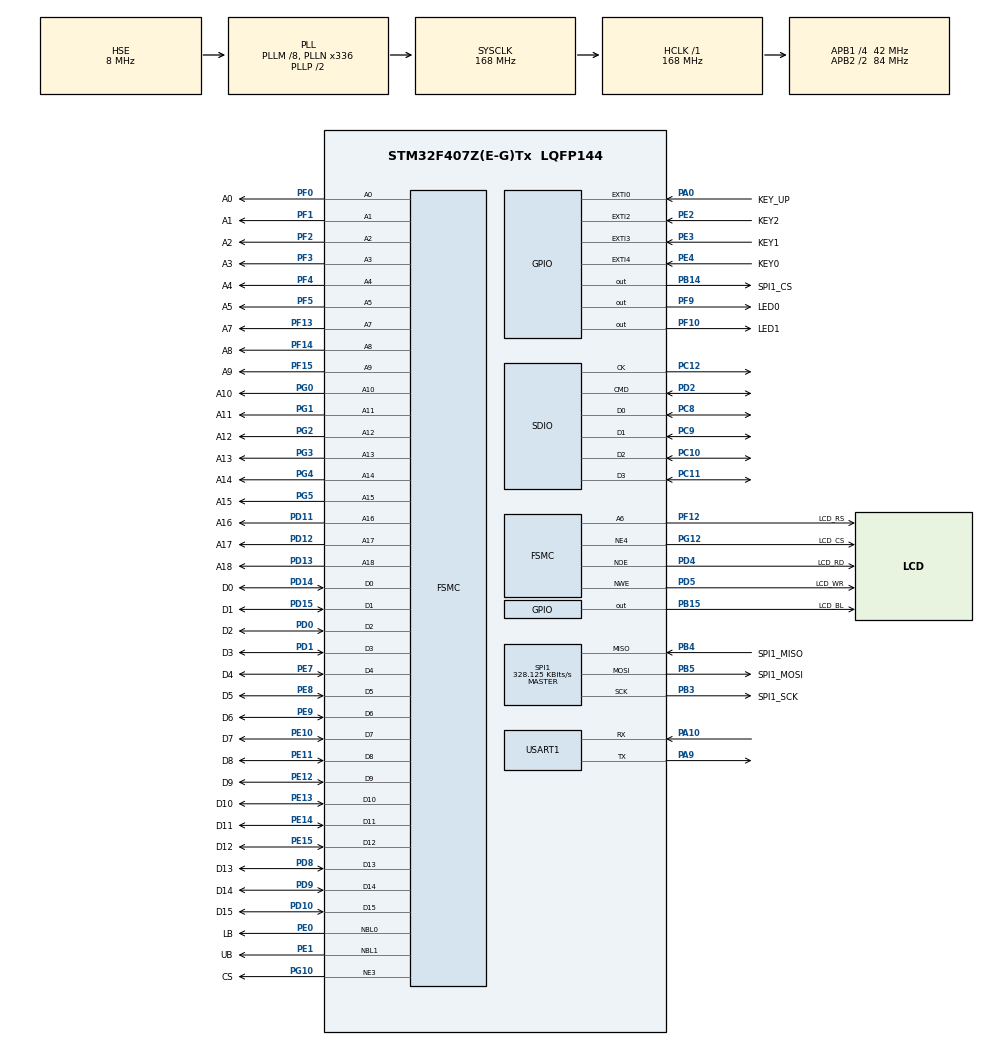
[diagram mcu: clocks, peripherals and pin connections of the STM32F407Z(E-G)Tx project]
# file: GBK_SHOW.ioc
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Dma.Request0=SDIO_RX
Dma.Request1=SDIO_TX
Dma.SDIO_RX.0.Direction=DMA_PERIPH_TO_MEMORY
Dma.SDIO_RX.0.FIFOMode=DMA_FIFOMODE_ENABLE
Dma.SDIO_RX.0.FIFOThreshold=DMA_FIFO_THRESHOLD_FULL
Dma.SDIO_RX.0.Instance=DMA2_Stream3
Dma.SDIO_RX.0.MemBurst=DMA_MBURST_SINGLE
Dma.SDIO_RX.0.MemDataAlignment=DMA_MDATAALIGN_BYTE
Dma.SDIO_RX.0.MemInc=DMA_MINC_ENABLE
Dma.SDIO_RX.0.Mode=DMA_PFCTRL
Dma.SDIO_RX.0.PeriphBurst=DMA_PBURST_INC4
Dma.SDIO_RX.0.PeriphDataAlignment=DMA_PDATAALIGN_WORD
Dma.SDIO_RX.0.PeriphInc=DMA_PINC_DISABLE
Dma.SDIO_RX.0.Priority=DMA_PRIORITY_HIGH
Dma.SDIO_TX.1.Direction=DMA_MEMORY_TO_PERIPH
Dma.SDIO_TX.1.FIFOMode=DMA_FIFOMODE_ENABLE
Dma.SDIO_TX.1.FIFOThreshold=DMA_FIFO_THRESHOLD_FULL
Dma.SDIO_TX.1.Instance=DMA2_Stream6
Dma.SDIO_TX.1.MemBurst=DMA_MBURST_SINGLE
Dma.SDIO_TX.1.MemDataAlignment=DMA_MDATAALIGN_BYTE
Dma.SDIO_TX.1.MemInc=DMA_MINC_ENABLE
Dma.SDIO_TX.1.Mode=DMA_PFCTRL
Dma.SDIO_TX.1.PeriphBurst=DMA_PBURST_INC4
Dma.SDIO_TX.1.PeriphDataAlignment=DMA_PDATAALIGN_WORD
Dma.SDIO_TX.1.PeriphInc=DMA_PINC_DISABLE
Dma.SDIO_TX.1.Priority=DMA_PRIORITY_HIGH
FSMC.AddressSetupTime1=2
FSMC.BusTurnAroundDuration1=0
FSMC.DataSetupTime1=8
FSMC.DataSetupTime2=60
FSMC.ExtendedAddressSetupTime2=9
FSMC.ExtendedDataSetupTime2=9
FSMC.ExtendedMode2=FSMC_EXTENDED_MODE_ENABLE
FSMC.WriteOperation1=FSMC_WRITE_OPERATION_ENABLE
Mcu.Family=STM32F4
Mcu.Name=STM32F407Z(E-G)Tx
Mcu.Package=LQFP144
NVIC.DMA2_Stream3_IRQn=true\:2\:0\:true\:false\:true\:false\:true
NVIC.DMA2_Stream6_IRQn=true\:2\:0\:true\:false\:true\:false\:true
NVIC.EXTI0_IRQn=true\:3\:1\:true\:false\:true\:true\:true
NVIC.EXTI2_IRQn=true\:3\:1\:true\:false\:true\:true\:true
NVIC.EXTI3_IRQn=true\:3\:1\:true\:false\:true\:true\:true
NVIC.EXTI4_IRQn=true\:3\:1\:true\:false\:true\:true\:true
NVIC.PriorityGroup=NVIC_PRIORITYGROUP_2
NVIC.SDIO_IRQn=true\:1\:0\:true\:false\:true\:true\:true
PA0-WKUP.GPIO_Label=KEY_UP
PA0-WKUP.GPIO_ModeDefaultEXTI=GPIO_MODE_IT_RISING
PA0-WKUP.GPIO_PuPd=GPIO_PULLDOWN
PA0-WKUP.Signal=GPXTI0
PA10.Mode=Asynchronous
PA10.Signal=USART1_RX
PA13.Mode=Serial_Wire
PA13.Signal=SYS_JTMS-SWDIO
PA14.Mode=Serial_Wire
PA14.Signal=SYS_JTCK-SWCLK
PA9.Mode=Asynchronous
PA9.Signal=USART1_TX
PB14.GPIO_Label=SPI1_CS
PB14.GPIO_PuPd=GPIO_PULLUP
PB14.PinState=GPIO_PIN_SET
PB14.Signal=GPIO_Output
PB15.GPIO_Label=LCD_BL
PB15.GPIO_PuPd=GPIO_PULLDOWN
PB15.GPIO_Speed=GPIO_SPEED_FREQ_HIGH
PB15.PinState=GPIO_PIN_SET
PB15.Signal=GPIO_Output
PB3.GPIO_Label=SPI1_SCK
PB3.GPIO_PuPd=GPIO_PULLUP
PB3.Mode=Full_Duplex_Master
PB3.Signal=SPI1_SCK
PB4.GPIO_Label=SPI1_MISO
PB4.GPIO_PuPd=GPIO_PULLUP
PB4.Mode=Full_Duplex_Master
PB4.Signal=SPI1_MISO
PB5.GPIO_Label=SPI1_MOSI
PB5.GPIO_PuPd=GPIO_PULLUP
PB5.Mode=Full_Duplex_Master
PB5.Signal=SPI1_MOSI
PC10.GPIO_PuPd=GPIO_PULLUP
PC10.Mode=SD_4_bits_Wide_bus
PC10.Signal=SDIO_D2
PC11.GPIO_PuPd=GPIO_PULLUP
PC11.Mode=SD_4_bits_Wide_bus
PC11.Signal=SDIO_D3
PC12.GPIO_PuPd=GPIO_PULLUP
PC12.Mode=SD_4_bits_Wide_bus
PC12.Signal=SDIO_CK
PC8.GPIO_PuPd=GPIO_PULLUP
PC8.Mode=SD_4_bits_Wide_bus
PC8.Signal=SDIO_D0
PC9.GPIO_PuPd=GPIO_PULLUP
PC9.Mode=SD_4_bits_Wide_bus
PC9.Signal=SDIO_D1
PD0.GPIO_Label=D2
PD0.GPIO_PuPd=GPIO_PULLUP
PD0.Signal=FSMC_D2_DA2
PD1.GPIO_Label=D3
PD1.GPIO_PuPd=GPIO_PULLUP
PD1.Signal=FSMC_D3_DA3
PD10.GPIO_Label=D15
PD10.GPIO_PuPd=GPIO_PULLUP
PD10.Signal=FSMC_D15_DA15
PD11.GPIO_Label=A16
PD11.GPIO_PuPd=GPIO_PULLUP
PD11.Signal=FSMC_A16_CLE
PD12.GPIO_Label=A17
PD12.GPIO_PuPd=GPIO_PULLUP
PD12.Signal=FSMC_A17_ALE
PD13.GPIO_Label=A18
PD13.GPIO_PuPd=GPIO_PULLUP
PD13.Signal=FSMC_A18
PD14.GPIO_Label=D0
PD14.GPIO_PuPd=GPIO_PULLUP
PD14.Signal=FSMC_D0_DA0
PD15.GPIO_Label=D1
PD15.GPIO_PuPd=GPIO_PULLUP
PD15.Signal=FSMC_D1_DA1
PD2.GPIO_PuPd=GPIO_PULLUP
PD2.Mode=SD_4_bits_Wide_bus
PD2.Signal=SDIO_CMD
PD4.GPIO_Label=LCD_RD
PD4.GPIO_PuPd=GPIO_PULLUP
PD4.Signal=FSMC_NOE
PD5.GPIO_Label=LCD_WR
PD5.GPIO_PuPd=GPIO_PULLUP
PD5.Signal=FSMC_NWE
PD8.GPIO_Label=D13
PD8.GPIO_PuPd=GPIO_PULLUP
PD8.Signal=FSMC_D13_DA13
PD9.GPIO_Label=D14
PD9.GPIO_PuPd=GPIO_PULLUP
PD9.Signal=FSMC_D14_DA14
PE0.GPIO_Label=LB
PE0.GPIO_PuPd=GPIO_PULLUP
PE0.Signal=FSMC_NBL0
PE1.GPIO_Label=UB
PE1.GPIO_PuPd=GPIO_PULLUP
PE1.Signal=FSMC_NBL1
PE10.GPIO_Label=D7
PE10.GPIO_PuPd=GPIO_PULLUP
PE10.Signal=FSMC_D7_DA7
PE11.GPIO_Label=D8
PE11.GPIO_PuPd=GPIO_PULLUP
PE11.Signal=FSMC_D8_DA8
PE12.GPIO_Label=D9
PE12.GPIO_PuPd=GPIO_PULLUP
PE12.Signal=FSMC_D9_DA9
PE13.GPIO_Label=D10
PE13.GPIO_PuPd=GPIO_PULLUP
PE13.Signal=FSMC_D10_DA10
PE14.GPIO_Label=D11
PE14.GPIO_PuPd=GPIO_PULLUP
PE14.Signal=FSMC_D11_DA11
PE15.GPIO_Label=D12
PE15.GPIO_PuPd=GPIO_PULLUP
PE15.Signal=FSMC_D12_DA12
PE2.GPIO_Label=KEY2
PE2.GPIO_ModeDefaultEXTI=GPIO_MODE_IT_FALLING
PE2.GPIO_PuPd=GPIO_PULLUP
PE2.Signal=GPXTI2
PE3.GPIO_Label=KEY1
PE3.GPIO_ModeDefaultEXTI=GPIO_MODE_IT_FALLING
PE3.GPIO_PuPd=GPIO_PULLUP
PE3.Signal=GPXTI3
PE4.GPIO_Label=KEY0
PE4.GPIO_ModeDefaultEXTI=GPIO_MODE_IT_FALLING
PE4.GPIO_PuPd=GPIO_PULLUP
PE4.Signal=GPXTI4
PE7.GPIO_Label=D4
PE7.GPIO_PuPd=GPIO_PULLUP
PE7.Signal=FSMC_D4_DA4
PE8.GPIO_Label=D5
PE8.GPIO_PuPd=GPIO_PULLUP
PE8.Signal=FSMC_D5_DA5
PE9.GPIO_Label=D6
PE9.GPIO_PuPd=GPIO_PULLUP
PE9.Signal=FSMC_D6_DA6
PF0.GPIO_Label=A0
PF0.GPIO_PuPd=GPIO_PULLUP
PF0.Signal=FSMC_A0
PF1.GPIO_Label=A1
PF1.GPIO_PuPd=GPIO_PULLUP
PF1.Signal=FSMC_A1
PF10.GPIO_Label=LED1
PF10.GPIO_PuPd=GPIO_PULLUP
PF10.GPIO_Speed=GPIO_SPEED_FREQ_HIGH
PF10.PinState=GPIO_PIN_SET
PF10.Signal=GPIO_Output
PF12.GPIO_Label=LCD_RS
PF12.GPIO_PuPd=GPIO_PULLUP
PF12.Signal=FSMC_A6
PF13.GPIO_Label=A7
PF13.GPIO_PuPd=GPIO_PULLUP
PF13.Signal=FSMC_A7
PF14.GPIO_Label=A8
PF14.GPIO_PuPd=GPIO_PULLUP
PF14.Signal=FSMC_A8
PF15.GPIO_Label=A9
PF15.GPIO_PuPd=GPIO_PULLUP
PF15.Signal=FSMC_A9
PF2.GPIO_Label=A2
PF2.GPIO_PuPd=GPIO_PULLUP
PF2.Signal=FSMC_A2
PF3.GPIO_Label=A3
PF3.GPIO_PuPd=GPIO_PULLUP
PF3.Signal=FSMC_A3
PF4.GPIO_Label=A4
PF4.GPIO_PuPd=GPIO_PULLUP
PF4.Signal=FSMC_A4
PF5.GPIO_Label=A5
PF5.GPIO_PuPd=GPIO_PULLUP
PF5.Signal=FSMC_A5
PF9.GPIO_Label=LED0
PF9.GPIO_PuPd=GPIO_PULLUP
PF9.GPIO_Speed=GPIO_SPEED_FREQ_HIGH
PF9.PinState=GPIO_PIN_SET
PF9.Signal=GPIO_Output
PG0.GPIO_Label=A10
PG0.GPIO_PuPd=GPIO_PULLUP
PG0.Signal=FSMC_A10
PG1.GPIO_Label=A11
PG1.GPIO_PuPd=GPIO_PULLUP
PG1.Signal=FSMC_A11
PG10.GPIO_Label=CS
PG10.GPIO_PuPd=GPIO_PULLUP
PG10.Mode=NorPsramChipSelect3_1
PG10.Signal=FSMC_NE3
PG12.GPIO_Label=LCD_CS
PG12.GPIO_PuPd=GPIO_PULLUP
PG12.Mode=NorPsramChipSelect4_2
PG12.Signal=FSMC_NE4
PG2.GPIO_Label=A12
PG2.GPIO_PuPd=GPIO_PULLUP
PG2.Signal=FSMC_A12
PG3.GPIO_Label=A13
PG3.GPIO_PuPd=GPIO_PULLUP
PG3.Signal=FSMC_A13
PG4.GPIO_Label=A14
PG4.GPIO_PuPd=GPIO_PULLUP
PG4.Signal=FSMC_A14
PG5.GPIO_Label=A15
PG5.GPIO_PuPd=GPIO_PULLUP
PG5.Signal=FSMC_A15
PH0-OSC_IN.Mode=HSE-External-Oscillator
PH0-OSC_IN.Signal=RCC_OSC_IN
PH1-OSC_OUT.Mode=HSE-External-Oscillator
PH1-OSC_OUT.Signal=RCC_OSC_OUT
ProjectManager.HeapSize=0x200
ProjectManager.StackSize=0x400
ProjectManager.TargetToolchain=MDK-ARM V5
RCC.48MHZClocksFreq_Value=48000000
RCC.AHBFreq_Value=168000000
RCC.APB1CLKDivider=RCC_HCLK_DIV4
RCC.APB1Freq_Value=42000000
RCC.APB1TimFreq_Value=84000000
RCC.APB2CLKDivider=RCC_HCLK_DIV2
RCC.APB2Freq_Value=84000000
RCC.APB2TimFreq_Value=168000000
RCC.CortexFreq_Value=168000000
RCC.HCLKFreq_Value=168000000
RCC.HSE_VALUE=8000000
RCC.HSI_VALUE=16000000
RCC.LSE_VALUE=32768
RCC.PLLM=8
RCC.PLLN=336
RCC.PLLQ=7
RCC.PLLSourceVirtual=RCC_PLLSOURCE_HSE
RCC.SYSCLKFreq_VALUE=168000000
RCC.SYSCLKSource=RCC_SYSCLKSOURCE_PLLCLK
RCC.VCOOutputFreq_Value=336000000
SH.FSMC_A0.0=FSMC_A0,19b-a1
SH.FSMC_A1.0=FSMC_A1,19b-a1
SH.FSMC_A10.0=FSMC_A10,19b-a1
SH.FSMC_A11.0=FSMC_A11,19b-a1
SH.FSMC_A12.0=FSMC_A12,19b-a1
SH.FSMC_A13.0=FSMC_A13,19b-a1
SH.FSMC_A14.0=FSMC_A14,19b-a1
SH.FSMC_A15.0=FSMC_A15,19b-a1
SH.FSMC_A16_CLE.0=FSMC_A16,19b-a1
SH.FSMC_A17_ALE.0=FSMC_A17,19b-a1
SH.FSMC_A18.0=FSMC_A18,19b-a1
SH.FSMC_A2.0=FSMC_A2,19b-a1
SH.FSMC_A3.0=FSMC_A3,19b-a1
SH.FSMC_A4.0=FSMC_A4,19b-a1
SH.FSMC_A5.0=FSMC_A5,19b-a1
SH.FSMC_A6.0=FSMC_A6,A6_2
SH.FSMC_A6.1=FSMC_A6,19b-a1
SH.FSMC_A7.0=FSMC_A7,19b-a1
SH.FSMC_A8.0=FSMC_A8,19b-a1
SH.FSMC_A9.0=FSMC_A9,19b-a1
SH.FSMC_D0_DA0.0=FSMC_D0,16b-d2
SH.FSMC_D0_DA0.1=FSMC_D0,16b-d1
SH.FSMC_D10_DA10.0=FSMC_D10,16b-d2
SH.FSMC_D10_DA10.1=FSMC_D10,16b-d1
SH.FSMC_D11_DA11.0=FSMC_D11,16b-d2
SH.FSMC_D11_DA11.1=FSMC_D11,16b-d1
SH.FSMC_D12_DA12.0=FSMC_D12,16b-d2
SH.FSMC_D12_DA12.1=FSMC_D12,16b-d1
SH.FSMC_D13_DA13.0=FSMC_D13,16b-d2
SH.FSMC_D13_DA13.1=FSMC_D13,16b-d1
SH.FSMC_D14_DA14.0=FSMC_D14,16b-d2
SH.FSMC_D14_DA14.1=FSMC_D14,16b-d1
SH.FSMC_D15_DA15.0=FSMC_D15,16b-d2
SH.FSMC_D15_DA15.1=FSMC_D15,16b-d1
SH.FSMC_D1_DA1.0=FSMC_D1,16b-d2
SH.FSMC_D1_DA1.1=FSMC_D1,16b-d1
SH.FSMC_D2_DA2.0=FSMC_D2,16b-d2
SH.FSMC_D2_DA2.1=FSMC_D2,16b-d1
SH.FSMC_D3_DA3.0=FSMC_D3,16b-d2
SH.FSMC_D3_DA3.1=FSMC_D3,16b-d1
SH.FSMC_D4_DA4.0=FSMC_D4,16b-d2
SH.FSMC_D4_DA4.1=FSMC_D4,16b-d1
SH.FSMC_D5_DA5.0=FSMC_D5,16b-d2
SH.FSMC_D5_DA5.1=FSMC_D5,16b-d1
SH.FSMC_D6_DA6.0=FSMC_D6,16b-d2
SH.FSMC_D6_DA6.1=FSMC_D6,16b-d1
SH.FSMC_D7_DA7.0=FSMC_D7,16b-d2
SH.FSMC_D7_DA7.1=FSMC_D7,16b-d1
SH.FSMC_D8_DA8.0=FSMC_D8,16b-d2
SH.FSMC_D8_DA8.1=FSMC_D8,16b-d1
SH.FSMC_D9_DA9.0=FSMC_D9,16b-d2
SH.FSMC_D9_DA9.1=FSMC_D9,16b-d1
SH.FSMC_NBL0.0=FSMC_NBL0,2ByteEnable1
SH.FSMC_NBL1.0=FSMC_NBL1,2ByteEnable1
SH.FSMC_NOE.0=FSMC_NOE,Lcd2
SH.FSMC_NOE.1=FSMC_NOE,Sram1
SH.FSMC_NWE.0=FSMC_NWE,Lcd2
SH.FSMC_NWE.1=FSMC_NWE,Sram1
SPI1.BaudRatePrescaler=SPI_BAUDRATEPRESCALER_256
SPI1.CLKPhase=SPI_PHASE_2EDGE
SPI1.CLKPolarity=SPI_POLARITY_HIGH
SPI1.CalculateBaudRate=328.125 KBits/s
SPI1.Direction=SPI_DIRECTION_2LINES
SPI1.Mode=SPI_MODE_MASTER
SPI1.VirtualType=VM_MASTER
USART1.VirtualMode=VM_ASYNC
board=custom

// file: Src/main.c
/* USER CODE BEGIN Header */
/**
  ******************************************************************************
  * @file           : main.c
  * @brief          : Main program body
  ******************************************************************************
  * @attention
  *
  * <h2><center>&copy; Copyright (c) 2024 STMicroelectronics.
  * All rights reserved.</center></h2>
  *
  * This software component is licensed by ST under BSD 3-Clause license,
  * the "License"; You may not use this file except in compliance with the
  * License. You may obtain a copy of the License at:
  *                        opensource.org/licenses/BSD-3-Clause
  *
  ******************************************************************************
  */
/* USER CODE END Header */

#include "main.h"
#include "dma.h"
#include "sdio.h"
#include "spi.h"
#include "usart.h"
#include "gpio.h"
#include "fsmc.h"

/* USER CODE BEGIN Includes */
#include "delay.h"
#include "lcd.h"
#include "norflash.h"
#include "exti.h"
#include "sdio_sdcard.h"

#include "sram.h"
#include "mymalloc.h"

#include "exfuns.h"  //fs、exfuns_init
#include "diskio.h"  //disk_initialize
/* USER CODE END Includes */

/* USER CODE BEGIN PV */
uint8_t lcd_id[12];
uint16_t colors[12] = {WHITE, BLACK, BLUE, RED, MAGENTA, GREEN, CYAN, YELLOW, BRRED, GRAY, LGRAY, BROWN};uint8_t color_index = 0;
uint8_t cur_brightness;
uint8_t* str[23];

HAL_SD_CardInfoTypeDef  g_sd_card_info_handle;   /* SD卡信息结构体 */
uint32_t total_space, free_space;

//更新字库
uint8_t sd_mount_status = 1;               /* SD 挂载状态 */
uint8_t flash_mount_status = 1;               /* FLASH 挂载状态 */
uint8_t fonts_update_res = 1;

#define FONTSECSIZE         791
#define FONTINFOADDR        12 * 1024 * 1024
/* USER CODE END PV */

void SystemClock_Config(void);

int main(void)
{

  /* MCU Configuration--------------------------------------------------------*/

  /* Reset of all peripherals, Initializes the Flash interface and the Systick. */
  HAL_Init();

  /* Configure the system clock */
  SystemClock_Config();

  /* Initialize all configured peripherals */
  MX_GPIO_Init();
  MX_DMA_Init();
  MX_USART1_UART_Init();
  MX_FSMC_Init();
  MX_SPI1_Init();
  MX_SDIO_SD_Init();
  /* USER CODE BEGIN 2 */
	delay_init(168);
	lcd_init();                             /* 初始化LCD */
  g_point_color = RED;
  sprintf((char *)lcd_id, "LCD ID:%04X", lcddev.id);  /* 将LCD ID打印到lcd_id数组 */
	//HAL_GPIO_WritePin(LED1_GPIO_Port, LED1_Pin, GPIO_PIN_RESET);  //LED1亮
	lcd_set_backlight_by_pwm(0xFF); // 设置占空比为255,开启背光最亮

	cur_brightness = lcd_get_backlight_by_pwm(); //获取当前背光值
	sprintf((char*)str, "current brightness:%3u", cur_brightness);

	lcd_clear(colors[color_index]);  //清屏
	lcd_show_string(10, 40, 240, 32, 32, "STM32", RED);
	lcd_show_string(10, 80, 240, 24, 24, "TFTLCD TEST", RED);
	lcd_show_string(10, 110, 240, 16, 16, "ATOM@ALIENTEK", RED);
	lcd_show_string(10, 130, 240, 16, 16, (char *)lcd_id, RED); /* 显示LCD ID */
	lcd_show_string(10, 150, 240, 16, 16, (char *)str, RED); /* 显示亮度 */
	lcd_show_string(10, 170, 200, 16, 16, "KEY0:Test SD!", RED);
	lcd_show_string(10, 190, 200, 16, 16, "KEY1:Test norflash!", RED);
	lcd_show_string(10, 210, 200, 16, 16, "KEY2:Test SRAM!", RED);
	lcd_show_string(10, 230, 200, 16, 16, "KEY_UP:Update font!", RED);

	norflash_init();  //初始化norflash
	uint16_t id = norflash_read_id();
	printf("norflash id is %d\n", id);
	sprintf((char *)datatemp, "%s", (char *)g_text_buf);
	while ((id == 0) || (id == 0xFFFF)) /* 检测不到FLASH芯片 */ {
		printf("FLASH Check Failed!\n");
		HAL_Delay(500);
		printf("Please Check! \n");
		HAL_Delay(500);
	}

	sram_init();                        /* SRAM初始化 */

	my_mem_init(SRAMIN);                /* 初始化内部SRAM内存池 */
	//my_mem_init(SRAMEX);                /* 初始化外部SRAM内存池 */
	my_mem_init(SRAMCCM);               /* 初始化内部CCM内存池 */

	mount_disks();
  /* USER CODE END 2 */

  /* Infinite loop */
  /* USER CODE BEGIN WHILE */
  while (1)
  {
		HAL_GPIO_TogglePin(LED0_GPIO_Port, LED0_Pin); /* LED0闪烁 */
		HAL_Delay(300);
    /* USER CODE END WHILE */

  }
}

void SystemClock_Config(void)
{
  RCC_OscInitTypeDef RCC_OscInitStruct = {0};
  RCC_ClkInitTypeDef RCC_ClkInitStruct = {0};

  /** Configure the main internal regulator output voltage
  */
  __HAL_RCC_PWR_CLK_ENABLE();
  __HAL_PWR_VOLTAGESCALING_CONFIG(PWR_REGULATOR_VOLTAGE_SCALE1);
  /** Initializes the CPU, AHB and APB busses clocks
  */
  RCC_OscInitStruct.OscillatorType = RCC_OSCILLATORTYPE_HSE;
  RCC_OscInitStruct.HSEState = RCC_HSE_ON;
  RCC_OscInitStruct.PLL.PLLState = RCC_PLL_ON;
  RCC_OscInitStruct.PLL.PLLSource = RCC_PLLSOURCE_HSE;
  RCC_OscInitStruct.PLL.PLLM = 8;
  RCC_OscInitStruct.PLL.PLLN = 336;
  RCC_OscInitStruct.PLL.PLLP = RCC_PLLP_DIV2;
  RCC_OscInitStruct.PLL.PLLQ = 7;
  if (HAL_RCC_OscConfig(&RCC_OscInitStruct) != HAL_OK)
  {
    Error_Handler();
  }
  /** Initializes the CPU, AHB and APB busses clocks
  */
  RCC_ClkInitStruct.ClockType = RCC_CLOCKTYPE_HCLK|RCC_CLOCKTYPE_SYSCLK
                              |RCC_CLOCKTYPE_PCLK1|RCC_CLOCKTYPE_PCLK2;
  RCC_ClkInitStruct.SYSCLKSource = RCC_SYSCLKSOURCE_PLLCLK;
  RCC_ClkInitStruct.AHBCLKDivider = RCC_SYSCLK_DIV1;
  RCC_ClkInitStruct.APB1CLKDivider = RCC_HCLK_DIV4;
  RCC_ClkInitStruct.APB2CLKDivider = RCC_HCLK_DIV2;

  if (HAL_RCC_ClockConfig(&RCC_ClkInitStruct, FLASH_LATENCY_5) != HAL_OK)
  {
    Error_Handler();
  }
}

/* USER CODE BEGIN 4 */
void mount_disks(){
	while (sd_init())   // 检测不到SD卡
	{
			lcd_show_string(30, 350, 200, 16, 16, "SD Card Error!", RED);
			delay_ms(500);
			lcd_show_string(30, 350, 200, 16, 16, "Please Check! ", RED);
			delay_ms(500);
			HAL_GPIO_TogglePin(LED1_GPIO_Port, LED1_Pin); // LED1闪烁
	}

	exfuns_init();                  /* 为fatfs相关变量申请内存 */

	sd_mount_status = f_mount(fs[0], "0:", 1);        // 挂载SD卡
	//当调用 `f_mount` 函数来挂载文件系统时，`disk_initialize` 会被间接调用，以确保底层存储设备（如SD卡）已准备好进行读写操作
	/*
	`f_mount` 函数用于在 FatFs 模块中注册或注销文件系统对象。它的返回值如下：
	- FR_OK = 0,				// (0) Succeeded 操作成功
	- FR_DISK_ERR,			// (1) A hard error occurred in the low level disk I/O layer  低级磁盘 I/O 错误
	- FR_INT_ERR,				// (2) Assertion failed
	- FR_NOT_READY,			// (3) The physical drive cannot work
	- FR_NO_FILE,				// (4) Could not find the file
	- FR_NO_PATH,				// (5) Could not find the path
	- FR_INVALID_NAME,		// (6) The path name format is invalid
	- FR_DENIED,				// (7) Access denied due to prohibited access or directory full
	- FR_EXIST,				// (8) Access denied due to prohibited access
	- FR_INVALID_OBJECT,		// (9) The file/directory object is invalid
	- FR_WRITE_PROTECTED,		// (10) The physical drive is write protected
	- FR_INVALID_DRIVE,		// (11) The logical drive number is invalid  无效的驱动器号
	- FR_NOT_ENABLED,			// (12) The volume has no work area 卷未启用
	- FR_NO_FILESYSTEM,		// (13) There is no valid FAT volume 没有有效的文件系统
	- FR_MKFS_ABORTED,		// (14) The f_mkfs() aborted due to any problem
	- FR_TIMEOUT,				// (15) Could not get a grant to access the volume within defined period
	- FR_LOCKED,				// (16) The operation is rejected according to the file sharing policy
	- FR_NOT_ENOUGH_CORE,		// (17) LFN working buffer could not be allocated
	- FR_TOO_MANY_OPEN_FILES,	// (18) Number of open files > FF_FS_LOCK
	- FR_INVALID_PARAMETER	// (19) Given parameter is invalid
	*/
	printf("f_mount sd res:%u\n", sd_mount_status);
	if(FR_OK == sd_mount_status){
		lcd_show_string(30, 350, 200, 16, 16, "SD Disk Mount Successed!", RED);     /* SD格式化成功 */
	}
	if (sd_mount_status == 0X0D) {               /* SD磁盘,FAT文件系统错误,重新格式化SD */
			printf("sd fs error!\n");
			lcd_show_string(30, 350, 200, 16, 16, "SD Disk Formatting...", RED);         /* 格式化SD */
			sd_mount_status = f_mkfs("0:", 0, 0, FF_MAX_SS);                                            /* 格式化SD,0:,盘符;0,使用默认格式化参数 */

			if (sd_mount_status == 0){
					f_setlabel((const TCHAR *)"0:ALIENTEK_SD");                                    /* 设置SD磁盘的名字为：ALIENTEK_SD */
					lcd_show_string(30, 350, 200, 16, 16, "SD Disk Format Finish", RED);     /* 格式化完成 */
			}	else	{
					lcd_show_string(30, 350, 200, 16, 16, "SD Disk Format Error ", RED);     /* 格式化失败 */
			}
			delay_ms(1000);
	}

	//lcd_fill(30, 150, 240, 150 + 16, WHITE);    /* 清除显示 */

	flash_mount_status = f_mount(fs[1], "1:", 1);  /* 挂载FLASH */
	printf("f_mount flash res:%u\n", flash_mount_status);
	if(FR_OK == flash_mount_status){
		lcd_show_string(30, 370, 200, 16, 16, "Flash Disk Mount Successed!", RED);     /* FLASH格式化成功 */
	}
	if (flash_mount_status == 0X0D) {                /* FLASH磁盘,FAT文件系统错误,重新格式化FLASH */
			printf("flash fs error!\n");
			lcd_show_string(30, 370, 200, 16, 16, "Flash Disk Formatting...", RED);         /* 格式化FLASH */
			flash_mount_status = f_mkfs("1:", 0, 0, FF_MAX_SS);                                            /* 格式化FLASH,1:,盘符;1,使用默认格式化参数 */

			if (flash_mount_status == 0)	{
					f_setlabel((const TCHAR *)"1:ALIENTEK_FLASH");                                    /* 设置Flash磁盘的名字为：ALIENTEK_FLASH */
					lcd_show_string(30, 370, 200, 16, 16, "Flash Disk Format Finish", RED);     /* 格式化完成 */
			}	else {
					lcd_show_string(30, 370, 200, 16, 16, "Flash Disk Format Error ", RED);     /* 格式化失败 */
			}
			delay_ms(1000);
	}

	while (exfuns_get_free("0:", &total_space, &free_space)) /* 得到SD卡的总容量和剩余容量 */
	{
			lcd_show_string(30, 390, 200, 16, 16, "SD Card Fatfs Error!", RED);
			delay_ms(200);
			lcd_fill(30, 390, 240, 150 + 16, WHITE);/* 清除显示 */
			delay_ms(200);
			HAL_GPIO_TogglePin(LED1_GPIO_Port, LED1_Pin); /* LED1闪烁 */
	}
	lcd_show_string(30, 390, 200, 16, 16, "SD Card FATFS OK!", BLUE);
	lcd_show_string(30, 410, 200, 16, 16, "SD Total Size:     MB", BLUE);
	lcd_show_string(30, 430, 200, 16, 16, "SD Free Size:      MB", BLUE);
	lcd_show_num(30 + 8 * 14, 410, total_space >> 10, 5, 16, BLUE);               /* 显示SD卡总容量 MB */
	lcd_show_num(30 + 8 * 14, 430, free_space >> 10, 5, 16, BLUE);                /* 显示SD卡剩余容量 MB */
	total_space = 0;
	free_space = 0;

	while (exfuns_get_free("1:", &total_space, &free_space)) /* 得到FLASH的总容量和剩余容量 */
	{
		lcd_show_string(30, 450, 200, 16, 16, "FLASH Fatfs Error!", RED);
			delay_ms(200);
			lcd_fill(30, 450, 240, 150 + 16, WHITE);/* 清除显示 */
			delay_ms(200);
			HAL_GPIO_TogglePin(LED1_GPIO_Port, LED1_Pin); /* LED1闪烁 */
	}
	lcd_show_string(30, 450, 200, 16, 16, "FLASH Card FATFS OK!", BLUE);
	lcd_show_string(30, 470, 200, 16, 16, "FLASH Total Size:     MB", BLUE);
	lcd_show_string(30, 490, 200, 16, 16, "FLASH Free Size:      MB", BLUE);
	lcd_show_num(30 + 8 * 16, 470, total_space >> 10, 5, 16, BLUE);               /* 显示FLASH总容量 MB */
	lcd_show_num(30 + 8 * 16, 490, free_space >> 10, 5, 16, BLUE);                /* 显示FLASH剩余容量 MB */
}
void erase_gbk_sector(){
	uint32_t *buf = mymalloc(SRAMIN, 4096);                           /* 申请4K字节内存 */
	uint16_t i, j;
	for (i = 0; i < FONTSECSIZE; i++)           // 先擦除字库区域,提高写入速度
	{
			norflash_read((uint8_t *)buf, ((FONTINFOADDR / 4096) + i) * 4096, 4096);    // 读出整个扇区的内容

			for (j = 0; j < 1024; j++)              // 校验这个扇区的数据
			{
					if (buf[j] != 0xFFFFFFFF) break;    // 发现数据不为`0xFFFFFFFF`，则需要擦除该扇区
			}

			if (j != 1024)
			{
					norflash_erase_sector((FONTINFOADDR / 4096) + i); // 需要擦除的扇区
					//printf("norflash_erase_sector:%d\n", (FONTINFOADDR / 4096) + i);
			}
	}
	myfree(SRAMIN, buf);
}
/* USER CODE END 4 */

void Error_Handler(void)
{
}

/************************ (C) COPYRIGHT STMicroelectronics *****END OF FILE****/
